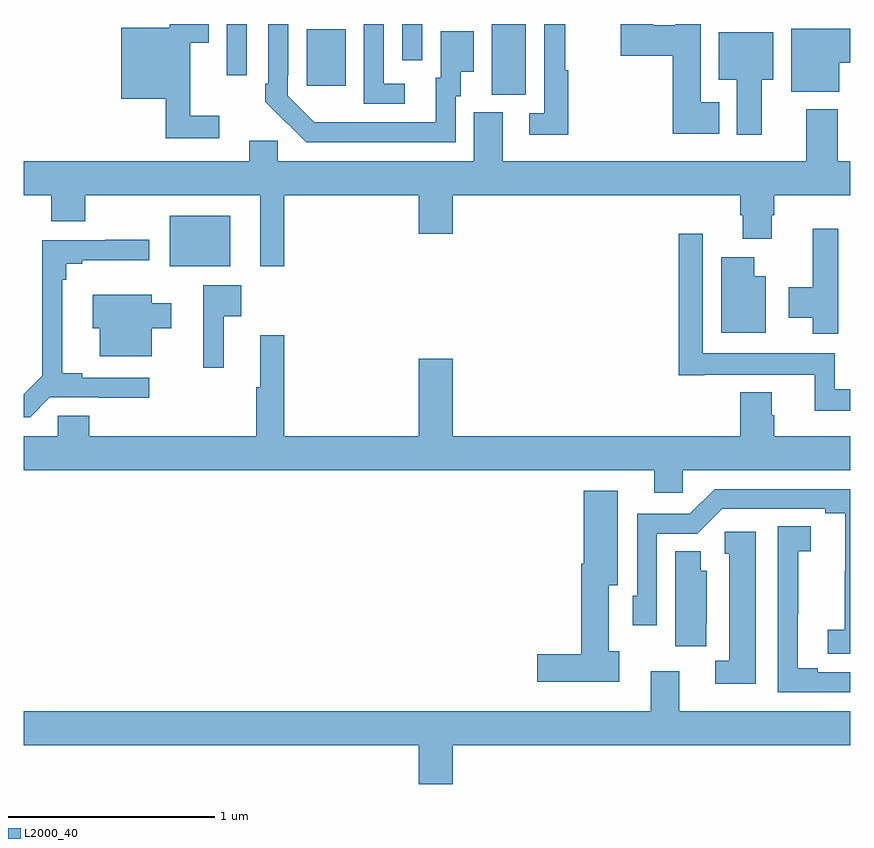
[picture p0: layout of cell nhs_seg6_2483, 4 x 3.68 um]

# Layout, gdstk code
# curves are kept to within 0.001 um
import gdstk
lib = gdstk.Library(unit=1e-6, precision=1e-09)
def R(c, l, rs):  # rectangles x0, y0, x1, y1
    for r in rs: c.add(gdstk.rectangle(r[:2], r[2:], *l))
def P(c, l, *ps):  # polygons
    for p in ps: c.add(gdstk.Polygon(p, *l))
L2000_40 = (2000, 40)

nhs_seg6_2483 = lib.new_cell('nhs_seg6_2483')
R(nhs_seg6_2483, L2000_40, [(259.706,944.327,259.999,944.572), (261.266,945.157,261.43,945.5), (260.369,945.201,260.557,945.475), (259.983,945.252,260.079,945.5), (260.832,945.324,260.928,945.5)])
P(nhs_seg6_2483, L2000_40, [(261.09,945.15),(261.115,945.15),(261.115,945.269),(261.178,945.269),(261.178,945.466),(261.017,945.466),(261.017,945.24),(260.993,945.24),(260.993,945.024),(260.406,945.025),(260.277,945.153),(260.277,945.253),(260.28,945.253),(260.28,945.5),(260.184,945.5),(260.184,945.211),(260.169,945.211),(260.169,945.123),(260.366,944.928),(261.09,944.928)],
  [(261.635,945.276),(261.62,945.276),(261.62,945.5),(261.519,945.5),(261.519,945.069),(261.447,945.069),(261.447,944.964),(261.635,944.964)],
  [(262.366,945.121),(262.276,945.121),(262.276,945.5),(262.154,945.5),(262.154,945.494),(262.048,945.494),(262.048,945.5),(261.89,945.5),(261.89,945.347),(262.142,945.347),(262.142,944.969),(262.366,944.969)],
  [(259.945,945.055),(259.805,945.055),(259.805,945.41),(259.894,945.41),(259.894,945.5),(259.706,945.5),(259.706,945.481),(259.472,945.481),(259.472,945.137),(259.687,945.137),(259.687,944.946),(259.945,944.946)],
  [(260.845,945.21),(260.742,945.21),(260.742,945.5),(260.646,945.5),(260.646,945.114),(260.845,945.114)],
  [(262.948,945.313),(263,945.313),(263,945.478),(262.715,945.478),(262.715,945.173),(262.948,945.173)],
  [(262.573,945.23),(262.627,945.23),(262.627,945.46),(262.364,945.46),(262.364,945.23),(262.451,945.23),(262.451,944.964),(262.573,944.964)],
  [(260.261,944.672),(260.912,944.672),(260.912,944.484),(261.076,944.484),(261.076,944.672),(262.469,944.672),(262.469,944.574),(262.481,944.574),(262.481,944.46),(262.621,944.46),(262.621,944.574),(262.634,944.574),(262.634,944.672),(263,944.672),(263,944.836),(262.94,944.836),(262.94,945.088),(262.787,945.088),(262.787,944.836),(261.319,944.836),(261.319,945.072),(261.179,945.072),(261.179,944.836),(260.229,944.836),(260.229,944.934),(260.09,944.934),(260.09,944.836),(259,944.836),(259,944.672),(259.133,944.672),(259.133,944.544),(259.297,944.544),(259.297,944.672),(260.144,944.672),(260.144,944.328),(260.261,944.328)],
  [(262.942,944.509),(262.82,944.509),(262.82,944.226),(262.703,944.226),(262.703,944.078),(262.82,944.078),(262.82,944.001),(262.942,944.001)],
  [(263,943.732),(262.926,943.732),(262.926,943.906),(262.287,943.906),(262.287,944.485),(262.171,944.485),(262.171,943.8),(262.294,943.8),(262.294,943.802),(262.829,943.802),(262.829,943.628),(263,943.628)],
  [(259.126,943.692),(259.606,943.691),(259.606,943.788),(259.282,943.788),(259.282,943.808),(259.186,943.808),(259.186,944.261),(259.205,944.261),(259.205,944.338),(259.282,944.338),(259.282,944.357),(259.606,944.357),(259.606,944.456),(259.393,944.456),(259.393,944.454),(259.089,944.454),(259.089,943.797),(259,943.708),(259,943.596),(259.03,943.596)],
  [(262.591,944.278),(262.537,944.278),(262.537,944.371),(262.376,944.371),(262.376,944.006),(262.591,944.006)],
  [(259.967,944.084),(260.053,944.084),(260.053,944.236),(259.868,944.236),(259.868,943.836),(259.967,943.836)],
  [(259.618,944.027),(259.714,944.027),(259.714,944.149),(259.618,944.149),(259.618,944.188),(259.334,944.188),(259.334,944.027),(259.367,944.027),(259.367,943.892),(259.618,943.892)],
  [(262.191,943.34),(263,943.34),(263,943.504),(262.634,943.504),(262.634,943.605),(262.621,943.605),(262.621,943.717),(262.469,943.717),(262.469,943.504),(261.076,943.504),(261.076,943.879),(260.912,943.879),(260.912,943.504),(260.261,943.504),(260.261,943.993),(260.144,943.993),(260.144,943.74),(260.125,943.74),(260.125,943.504),(259.316,943.504),(259.316,943.602),(259.164,943.602),(259.164,943.504),(259,943.504),(259,943.34),(262.052,943.34),(262.052,943.23),(262.191,943.23)],
  [(263,943.248),(262.344,943.248),(262.224,943.128),(261.969,943.128),(261.969,942.732),(261.948,942.732),(261.948,942.588),(262.065,942.588),(262.065,943.032),(262.26,943.032),(262.38,943.152),(262.88,943.152),(262.88,943.132),(262.976,943.132),(262.975,942.566),(262.893,942.566),(262.893,942.451),(263,942.451)],
  [(261.883,942.462),(261.832,942.462),(261.832,942.782),(261.874,942.782),(261.874,943.24),(261.71,943.24),(261.71,942.886),(261.698,942.886),(261.698,942.449),(261.486,942.449),(261.486,942.314),(261.883,942.314)],
  [(263,942.36),(262.843,942.36),(262.843,942.38),(262.747,942.38),(262.747,942.643),(262.749,942.643),(262.749,942.947),(262.81,942.947),(262.81,943.067),(262.65,943.067),(262.65,942.264),(263,942.264)],
  [(262.543,943.042),(262.393,943.042),(262.393,942.936),(262.415,942.936),(262.415,942.417),(262.347,942.417),(262.347,942.305),(262.543,942.305)],
  [(262.303,942.598),(262.306,942.598),(262.306,942.853),(262.276,942.853),(262.276,942.947),(262.154,942.947),(262.154,942.486),(262.303,942.486)],
  [(259,942.008),(260.912,942.008),(260.912,941.82),(261.076,941.82),(261.076,942.008),(263,942.008),(263,942.172),(262.174,942.172),(262.174,942.367),(262.034,942.367),(262.034,942.172),(259,942.172)])

lib.write_gds('nhs_seg6_2483.gds')
